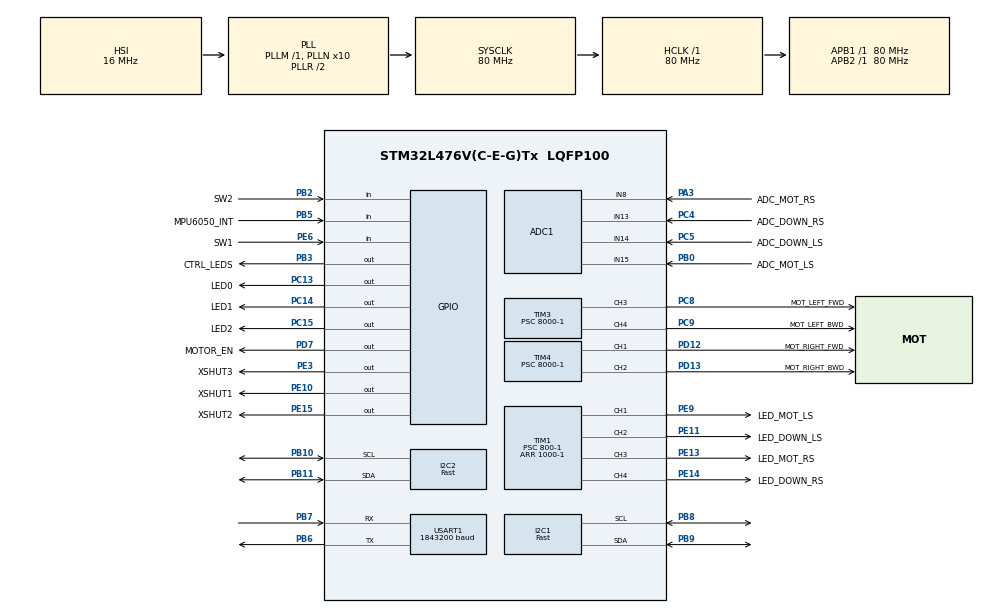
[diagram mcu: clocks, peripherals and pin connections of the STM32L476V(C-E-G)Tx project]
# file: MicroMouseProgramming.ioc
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ADC1.Channel-27\#ChannelRegularConversion=ADC_CHANNEL_VBAT
ADC1.Channel-28\#ChannelRegularConversion=ADC_CHANNEL_8
ADC1.Channel-29\#ChannelRegularConversion=ADC_CHANNEL_13
ADC1.Channel-30\#ChannelRegularConversion=ADC_CHANNEL_14
ADC1.Channel-31\#ChannelRegularConversion=ADC_CHANNEL_15
ADC1.ContinuousConvMode=ENABLE
ADC1.DMAContinuousRequests=ENABLE
ADC1.EOCSelection=ADC_EOC_SEQ_CONV
ADC1.NbrOfConversion=5
ADC1.NbrOfConversionFlag=1
ADC1.OffsetNumber-27\#ChannelRegularConversion=ADC_OFFSET_NONE
ADC1.OffsetNumber-28\#ChannelRegularConversion=ADC_OFFSET_NONE
ADC1.OffsetNumber-29\#ChannelRegularConversion=ADC_OFFSET_NONE
ADC1.OffsetNumber-30\#ChannelRegularConversion=ADC_OFFSET_NONE
ADC1.OffsetNumber-31\#ChannelRegularConversion=ADC_OFFSET_NONE
ADC1.OversamplingMode=ENABLE
ADC1.Rank-27\#ChannelRegularConversion=1
ADC1.Rank-28\#ChannelRegularConversion=2
ADC1.Rank-29\#ChannelRegularConversion=3
ADC1.Rank-30\#ChannelRegularConversion=4
ADC1.Rank-31\#ChannelRegularConversion=5
ADC1.Ratio=ADC_OVERSAMPLING_RATIO_256
ADC1.RightBitShift=ADC_RIGHTBITSHIFT_4
ADC1.SamplingTime-27\#ChannelRegularConversion=ADC_SAMPLETIME_640CYCLES_5
ADC1.SamplingTime-28\#ChannelRegularConversion=ADC_SAMPLETIME_640CYCLES_5
ADC1.SamplingTime-29\#ChannelRegularConversion=ADC_SAMPLETIME_640CYCLES_5
ADC1.SamplingTime-30\#ChannelRegularConversion=ADC_SAMPLETIME_640CYCLES_5
ADC1.SamplingTime-31\#ChannelRegularConversion=ADC_SAMPLETIME_640CYCLES_5
ADC1.master=1
Dma.ADC1.2.Direction=DMA_PERIPH_TO_MEMORY
Dma.ADC1.2.Instance=DMA1_Channel1
Dma.ADC1.2.MemDataAlignment=DMA_MDATAALIGN_HALFWORD
Dma.ADC1.2.MemInc=DMA_MINC_ENABLE
Dma.ADC1.2.Mode=DMA_CIRCULAR
Dma.ADC1.2.PeriphDataAlignment=DMA_PDATAALIGN_HALFWORD
Dma.ADC1.2.PeriphInc=DMA_PINC_DISABLE
Dma.ADC1.2.Priority=DMA_PRIORITY_LOW
Dma.Request0=USART1_RX
Dma.Request1=USART1_TX
Dma.Request2=ADC1
Dma.USART1_RX.0.Direction=DMA_PERIPH_TO_MEMORY
Dma.USART1_RX.0.Instance=DMA2_Channel7
Dma.USART1_RX.0.MemDataAlignment=DMA_MDATAALIGN_BYTE
Dma.USART1_RX.0.MemInc=DMA_MINC_ENABLE
Dma.USART1_RX.0.Mode=DMA_CIRCULAR
Dma.USART1_RX.0.PeriphDataAlignment=DMA_PDATAALIGN_BYTE
Dma.USART1_RX.0.PeriphInc=DMA_PINC_DISABLE
Dma.USART1_RX.0.Priority=DMA_PRIORITY_LOW
Dma.USART1_TX.1.Direction=DMA_MEMORY_TO_PERIPH
Dma.USART1_TX.1.Instance=DMA2_Channel6
Dma.USART1_TX.1.MemDataAlignment=DMA_MDATAALIGN_BYTE
Dma.USART1_TX.1.MemInc=DMA_MINC_ENABLE
Dma.USART1_TX.1.Mode=DMA_NORMAL
Dma.USART1_TX.1.PeriphDataAlignment=DMA_PDATAALIGN_BYTE
Dma.USART1_TX.1.PeriphInc=DMA_PINC_DISABLE
Dma.USART1_TX.1.Priority=DMA_PRIORITY_LOW
I2C1.I2C_Coeff_DF=15
I2C1.I2C_Fall_Time=100
I2C1.I2C_Rise_Time=100
I2C1.I2C_Speed_Mode=I2C_Fast
I2C1.Timing=0x00F01A72
I2C2.I2C_Coeff_DF=15
I2C2.I2C_Speed_Mode=I2C_Fast
I2C2.Timing=0x00F01A72
Mcu.Family=STM32L4
Mcu.Name=STM32L476V(C-E-G)Tx
Mcu.Package=LQFP100
NVIC.ADC1_2_IRQn=true\:0\:0\:false\:true\:true\:4\:true\:true\:true
NVIC.DMA1_Channel1_IRQn=true\:0\:0\:false\:true\:true\:3\:false\:true\:true
NVIC.DMA2_Channel6_IRQn=true\:0\:0\:false\:true\:true\:7\:false\:true\:true
NVIC.DMA2_Channel7_IRQn=true\:0\:0\:false\:true\:true\:8\:false\:true\:true
NVIC.FLASH_IRQn=true\:0\:0\:false\:true\:true\:1\:true\:true\:true
NVIC.PriorityGroup=NVIC_PRIORITYGROUP_4
NVIC.RCC_IRQn=true\:0\:0\:false\:true\:true\:2\:true\:false\:true
NVIC.TIM1_TRG_COM_TIM17_IRQn=true\:0\:0\:false\:false\:true\:true\:true\:true
NVIC.TIM3_IRQn=true\:0\:0\:false\:false\:true\:true\:true\:true
NVIC.TIM4_IRQn=true\:0\:0\:false\:true\:true\:5\:true\:true\:true
NVIC.TIM5_IRQn=true\:0\:0\:false\:true\:true\:6\:true\:true\:true
NVIC.TIM6_DAC_IRQn=true\:15\:0\:false\:false\:true\:true\:true\:true
NVIC.TIM7_IRQn=true\:0\:0\:false\:true\:true\:9\:true\:true\:true
NVIC.TimeBase=TIM6_DAC_IRQn
NVIC.TimeBaseIP=TIM6
NVIC.USART1_IRQn=true\:0\:0\:false\:false\:true\:true\:true\:true
PA13\ (JTMS-SWDIO).Mode=Serial_Wire
PA13\ (JTMS-SWDIO).Signal=SYS_JTMS-SWDIO
PA14\ (JTCK-SWCLK).Mode=Serial_Wire
PA14\ (JTCK-SWCLK).Signal=SYS_JTCK-SWCLK
PA3.GPIO_Label=ADC_MOT_RS
PA3.Signal=ADCx_IN8
PB0.GPIO_Label=ADC_MOT_LS
PB0.Signal=ADCx_IN15
PB10.GPIO_Mode=GPIO_MODE_AF_OD
PB10.GPIO_Pu=GPIO_NOPULL
PB10.GPIO_Speed=GPIO_SPEED_FREQ_VERY_HIGH
PB10.Mode=I2C
PB10.Signal=I2C2_SCL
PB11.GPIO_Mode=GPIO_MODE_AF_OD
PB11.GPIO_Pu=GPIO_NOPULL
PB11.GPIO_Speed=GPIO_SPEED_FREQ_VERY_HIGH
PB11.Mode=I2C
PB11.Signal=I2C2_SDA
PB2.GPIO_Label=SW2
PB2.GPIO_PuPd=GPIO_PULLUP
PB2.Signal=GPIO_Input
PB3\ (JTDO-TRACESWO).GPIO_Label=CTRL_LEDS
PB3\ (JTDO-TRACESWO).Signal=GPIO_Output
PB5.GPIO_Label=MPU6050_INT
PB5.Signal=GPIO_Input
PB6.Mode=Asynchronous
PB6.Signal=USART1_TX
PB7.Mode=Asynchronous
PB7.Signal=USART1_RX
PB8.GPIO_FM8=SYSCFG_FASTMODEPLUS_PB8
PB8.GPIO_Pu=GPIO_PULLUP
PB8.Mode=I2C
PB8.Signal=I2C1_SCL
PB9.GPIO_FM9=SYSCFG_FASTMODEPLUS_PB9
PB9.GPIO_Pu=GPIO_PULLUP
PB9.Mode=I2C
PB9.Signal=I2C1_SDA
PC13.GPIO_Label=LED0
PC13.PinState=GPIO_PIN_SET
PC13.Signal=GPIO_Output
PC14-OSC32_IN\ (PC14).GPIO_Label=LED1
PC14-OSC32_IN\ (PC14).Signal=GPIO_Output
PC15-OSC32_OUT\ (PC15).GPIO_Label=LED2
PC15-OSC32_OUT\ (PC15).Signal=GPIO_Output
PC4.GPIO_Label=ADC_DOWN_RS
PC4.Signal=ADCx_IN13
PC5.GPIO_Label=ADC_DOWN_LS
PC5.GPIO_Mode=GPIO_MODE_ANALOG_ADC_CONTROL
PC5.GPIO_PuPd=GPIO_NOPULL
PC5.Signal=ADCx_IN14
PC8.GPIO_Label=MOT_LEFT_FWD
PC8.GPIO_Speed=GPIO_SPEED_FREQ_LOW
PC8.Signal=S_TIM3_CH3
PC9.GPIO_Label=MOT_LEFT_BWD
PC9.GPIO_Speed=GPIO_SPEED_FREQ_LOW
PC9.Signal=S_TIM3_CH4
PD12.GPIO_Label=MOT_RIGHT_FWD
PD12.Signal=S_TIM4_CH1
PD13.GPIO_Label=MOT_RIGHT_BWD
PD13.Signal=S_TIM4_CH2
PD7.GPIO_Label=MOTOR_EN
PD7.Signal=GPIO_Output
PE10.GPIO_Label=XSHUT1
PE10.GPIO_PuPd=GPIO_PULLUP
PE10.GPIO_Speed=GPIO_SPEED_FREQ_VERY_HIGH
PE10.Signal=GPIO_Output
PE11.GPIO_Label=LED_DOWN_LS
PE11.Signal=S_TIM1_CH2
PE13.GPIO_Label=LED_MOT_RS
PE13.Signal=S_TIM1_CH3
PE14.GPIO_Label=LED_DOWN_RS
PE14.Signal=S_TIM1_CH4
PE15.GPIO_Label=XSHUT2
PE15.GPIO_PuPd=GPIO_PULLUP
PE15.GPIO_Speed=GPIO_SPEED_FREQ_VERY_HIGH
PE15.Signal=GPIO_Output
PE3.GPIO_Label=XSHUT3
PE3.GPIO_PuPd=GPIO_PULLUP
PE3.GPIO_Speed=GPIO_SPEED_FREQ_VERY_HIGH
PE3.Signal=GPIO_Output
PE6.GPIO_Label=SW1
PE6.GPIO_PuPd=GPIO_PULLUP
PE6.Signal=GPIO_Input
PE9.GPIO_Label=LED_MOT_LS
PE9.Signal=S_TIM1_CH1
PH0-OSC_IN\ (PH0).Mode=HSE-External-Oscillator
PH0-OSC_IN\ (PH0).Signal=RCC_OSC_IN
PH1-OSC_OUT\ (PH1).Mode=HSE-External-Oscillator
PH1-OSC_OUT\ (PH1).Signal=RCC_OSC_OUT
ProjectManager.HeapSize=0x1000
ProjectManager.StackSize=0x2000
ProjectManager.TargetToolchain=STM32CubeIDE
RCC.ADCCLockSelection=RCC_ADCCLKSOURCE_SYSCLK
RCC.ADCFreq_Value=80000000
RCC.AHBFreq_Value=80000000
RCC.APB1Freq_Value=80000000
RCC.APB1TimFreq_Value=80000000
RCC.APB2Freq_Value=80000000
RCC.APB2TimFreq_Value=80000000
RCC.CK48CLockSelection=RCC_USBCLKSOURCE_MSI
RCC.CortexFreq_Value=80000000
RCC.DATA_CACHE_ENABLE=1
RCC.FLatency=FLASH_LATENCY_4
RCC.FLatency-AdvancedSettings=FLASH_LATENCY_0
RCC.HCLKFreq_Value=80000000
RCC.HSE_VALUE=8000000
RCC.HSI_VALUE=16000000
RCC.INSTRUCTION_CACHE_ENABLE=1
RCC.LSE_VALUE=32768
RCC.MSIClockRange=RCC_MSIRANGE_11
RCC.MSI_VALUE=48000000
RCC.PLLN=10
RCC.PLLQ=RCC_PLLQ_DIV4
RCC.PLLSAI1N=24
RCC.PLLSAI1Q=RCC_PLLQ_DIV4
RCC.PLLSourceVirtual=RCC_PLLSOURCE_HSI
RCC.PREFETCH_ENABLE=1
RCC.PWR_Regulator_Voltage_Scale=PWR_REGULATOR_VOLTAGE_SCALE1
RCC.SYSCLKFreq_VALUE=80000000
RCC.SYSCLKSource=RCC_SYSCLKSOURCE_PLLCLK
RCC.USBFreq_Value=48000000
RCC.VCOOutputFreq_Value=160000000
RCC.VDD_VALUE=1.71
SH.ADCx_IN13.0=ADC1_IN13,IN13-Single-Ended
SH.ADCx_IN14.0=ADC1_IN14,IN14-Single-Ended
SH.ADCx_IN15.0=ADC1_IN15,IN15-Single-Ended
SH.ADCx_IN8.0=ADC1_IN8,IN8-Single-Ended
SH.S_TIM1_CH1.0=TIM1_CH1,PWM Generation1 CH1
SH.S_TIM1_CH2.0=TIM1_CH2,PWM Generation2 CH2
SH.S_TIM1_CH3.0=TIM1_CH3,PWM Generation3 CH3
SH.S_TIM1_CH4.0=TIM1_CH4,PWM Generation4 CH4
SH.S_TIM3_CH3.0=TIM3_CH3,PWM Generation3 CH3
SH.S_TIM3_CH4.0=TIM3_CH4,PWM Generation4 CH4
SH.S_TIM4_CH1.0=TIM4_CH1,PWM Generation1 CH1
SH.S_TIM4_CH2.0=TIM4_CH2,PWM Generation2 CH2
SYS.PowerMode=PWR_SMPS_SUPPLY
TIM1.Channel-PWM\ Generation1\ CH1=TIM_CHANNEL_1
TIM1.Channel-PWM\ Generation2\ CH2=TIM_CHANNEL_2
TIM1.Channel-PWM\ Generation3\ CH3=TIM_CHANNEL_3
TIM1.Channel-PWM\ Generation4\ CH4=TIM_CHANNEL_4
TIM1.OCPolarity_4=TIM_OCPOLARITY_LOW
TIM1.Period=1000-1
TIM1.Prescaler=800-1
TIM1.Pulse-PWM\ Generation1\ CH1=1000-1
TIM1.Pulse-PWM\ Generation2\ CH2=1000-1
TIM1.Pulse-PWM\ Generation3\ CH3=1000-1
TIM1.Pulse-PWM\ Generation4\ CH4=500-1
TIM3.AutoReloadPreload=TIM_AUTORELOAD_PRELOAD_ENABLE
TIM3.Channel-PWM\ Generation3\ CH3=TIM_CHANNEL_3
TIM3.Channel-PWM\ Generation4\ CH4=TIM_CHANNEL_4
TIM3.OCPolarity_3=TIM_OCPOLARITY_LOW
TIM3.OCPolarity_4=TIM_OCPOLARITY_LOW
TIM3.Period=100-1
TIM3.Prescaler=8000-1
TIM3.Pulse-PWM\ Generation3\ CH3=0
TIM3.Pulse-PWM\ Generation4\ CH4=0
TIM4.AutoReloadPreload=TIM_AUTORELOAD_PRELOAD_ENABLE
TIM4.Channel-PWM\ Generation1\ CH1=TIM_CHANNEL_1
TIM4.Channel-PWM\ Generation2\ CH2=TIM_CHANNEL_2
TIM4.OCPolarity_1=TIM_OCPOLARITY_LOW
TIM4.OCPolarity_2=TIM_OCPOLARITY_LOW
TIM4.Period=100-1
TIM4.Prescaler=8000-1
TIM5.AutoReloadPreload=TIM_AUTORELOAD_PRELOAD_ENABLE
TIM5.Period=1
TIM5.Prescaler=1
TIM7.AutoReloadPreload=TIM_AUTORELOAD_PRELOAD_ENABLE
TIM7.Prescaler=1
USART1.BaudRate=1843200
USART1.VirtualMode-Asynchronous=VM_ASYNC
VP_ADC1_Vbat_Input.Mode=IN-Vbat
VP_SYS_VS_LPOM.Mode=PowerOptimisation
VP_SYS_VS_tim6.Mode=TIM6
VP_TIM1_VS_ClockSourceINT.Mode=Internal
VP_TIM3_VS_ClockSourceINT.Mode=Internal
VP_TIM4_VS_ClockSourceINT.Mode=Internal
VP_TIM5_VS_ClockSourceINT.Mode=Internal
VP_TIM7_VS_ClockSourceINT.Mode=Enable_Timer
board=custom

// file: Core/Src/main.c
/* USER CODE BEGIN Header */
/**
  ******************************************************************************
  * @file           : main.c
  * @brief          : Main program body
  ******************************************************************************
  * @attention
  *
  * Copyright (c) 2023 STMicroelectronics.
  * All rights reserved.
  *
  * This software is licensed under terms that can be found in the LICENSE file
  * in the root directory of this software component.
  * If no LICENSE file comes with this software, it is provided AS-IS.
  *
  ******************************************************************************
  */
/* USER CODE END Header */
#include "main.h"

/* USER CODE BEGIN Includes */
#include <math.h>
#include <string.h>
#include <stdio.h>
#include <stdbool.h>
#include <stdint.h>
#include "IMU.h"
#include "VL53L0X.h"
#include "SSD1306.h"
#include "Motors.h"
#include "ADCs.h"
#include "LEDs.h"
#include "Buttons.h"
#include "INA219.h"
#include "preformatted_flash.h"
/* USER CODE END Includes */

ADC_HandleTypeDef hadc1;
DMA_HandleTypeDef hdma_adc1;

I2C_HandleTypeDef hi2c1;
I2C_HandleTypeDef hi2c2;

TIM_HandleTypeDef htim1;
TIM_HandleTypeDef htim3;
TIM_HandleTypeDef htim4;
TIM_HandleTypeDef htim5;
TIM_HandleTypeDef htim7;

UART_HandleTypeDef huart1;
DMA_HandleTypeDef hdma_usart1_rx;
DMA_HandleTypeDef hdma_usart1_tx;

void SystemClock_Config(void);
static void MX_NVIC_Init(void);

/* USER CODE BEGIN 0 */
int8_t expectedHeader[3] = {'J', '_', 'A'};
int8_t expectedTerminator[3] = {'A', '_', 'J'};

int32_t counter = 0;

// from this file
float SW1;
float SW2;

int8_t bigBuffer[3+5+(18*5)+1+3]; // 5 bytes for mouse control + headers and terminators
uint8_t header[3];
uint8_t terminator[3];
int8_t buffer[5];

bool LED0 = 0;
bool LED1 = 0;
bool LED2 = 0;

// ADCs
extern uint16_t ADCs[5];

extern int8_t MOTOR_LS;
extern int8_t MOTOR_RS;

// from other files
extern float IMU_Accel[3];
extern float IMU_Gyro[3];
extern float IMU_Temp;

extern VL53L0_t TOF_left_result;
extern VL53L0_t TOF_centre_result;
extern VL53L0_t TOF_right_result;

extern char oled_string1[18];
extern char oled_string2[18];
extern char oled_string3[18];
extern char oled_string4[18];
extern char oled_string5[18];

extern uint8_t LED[3];
extern uint8_t SW[2];

extern uint8_t batteryLife;
extern int16_t Vbattery, Vshunt, Current, config, Power;
extern float miliwattAVG,miliWattTime,totalPowerUsed;
extern uint8_t STATE;
// functions

void configureTimer(float desired_frequency, TIM_TypeDef* tim) {
    // Assuming the clock frequency driving the timer is 80 MHz
    float clock_frequency = SystemCoreClock; // 80 MHz

    // Calculate the required total timer period in timer clock cycles
    float timer_period = clock_frequency / desired_frequency;

    // Choose a suitable prescaler (PSC) to fit the period within ARR's range
    uint32_t prescaler = (uint32_t)(timer_period / 65536.0f); // PSC ensures ARR <= 65535
    if (prescaler > 65535) {
        prescaler = 65535; // Cap PSC if it exceeds 16-bit value
    }

    // Calculate the ARR based on the chosen PSC
    uint64_t arr = (uint64_t)(timer_period / (prescaler + 1));

    // Update the timer registers
    tim->PSC = prescaler;   // Set the prescaler
    tim->ARR = arr;         // Set the auto-reload register

    // Reload the timer settings to apply the changes immediately
    tim->EGR = TIM_EGR_UG;  // Generate an update event to reload PSC and ARR
}

void sendToSimulink(){
    HAL_UART_Transmit(&huart1, (uint8_t *) "J_A"           ,3 , HAL_MAX_DELAY);

    // Switches
    HAL_UART_Transmit(&huart1,(float_t*)  &SW1     ,4 , HAL_MAX_DELAY);
    HAL_UART_Transmit(&huart1,(float_t *) &SW2     ,4 , HAL_MAX_DELAY);

  // IMU
    HAL_UART_Transmit(&huart1, &IMU_Accel[0]     ,4 , HAL_MAX_DELAY);
    HAL_UART_Transmit(&huart1, &IMU_Accel[1]     ,4 , HAL_MAX_DELAY);
    HAL_UART_Transmit(&huart1, &IMU_Accel[2]     ,4 , HAL_MAX_DELAY);
    HAL_UART_Transmit(&huart1, &IMU_Gyro[0]     ,4 , HAL_MAX_DELAY);
    HAL_UART_Transmit(&huart1, &IMU_Gyro[1]     ,4 , HAL_MAX_DELAY);
    HAL_UART_Transmit(&huart1, &IMU_Gyro[2]     ,4 , HAL_MAX_DELAY);
    HAL_UART_Transmit(&huart1, &IMU_Temp         ,4 , HAL_MAX_DELAY);

  // TOF
    HAL_UART_Transmit(&huart1, &(TOF_left_result.Distance)  , 4 , HAL_MAX_DELAY);
    HAL_UART_Transmit(&huart1, &(TOF_left_result.Ambient )  , 4 , HAL_MAX_DELAY);
    HAL_UART_Transmit(&huart1, &(TOF_left_result.Signal  )  , 4 , HAL_MAX_DELAY);
    HAL_UART_Transmit(&huart1, &(TOF_left_result.Status  )  , 4 , HAL_MAX_DELAY);
    HAL_UART_Transmit(&huart1,  &(TOF_centre_result.Distance)  , 4 , HAL_MAX_DELAY);
    HAL_UART_Transmit(&huart1,  &(TOF_centre_result.Ambient )  , 4 , HAL_MAX_DELAY);
    HAL_UART_Transmit(&huart1,  &(TOF_centre_result.Signal  )  , 4 , HAL_MAX_DELAY);
    HAL_UART_Transmit(&huart1,  &(TOF_centre_result.Status  )  , 4 , HAL_MAX_DELAY);
    HAL_UART_Transmit(&huart1,  &(TOF_right_result.Distance)  , 4 , HAL_MAX_DELAY);
    HAL_UART_Transmit(&huart1,  &(TOF_right_result.Ambient )  , 4 , HAL_MAX_DELAY);
    HAL_UART_Transmit(&huart1,  &(TOF_right_result.Signal  )  , 4 , HAL_MAX_DELAY);
    HAL_UART_Transmit(&huart1,  &(TOF_right_result.Status  )  , 4 , HAL_MAX_DELAY);

    // VBAT, MOT_RS , DOWN_RS , DOWN_LS , MOT_LS
    HAL_UART_Transmit(&huart1,  &(ADCs[0]  )  , 2 , HAL_MAX_DELAY);
    HAL_UART_Transmit(&huart1,  &(ADCs[0]  )  , 2 , HAL_MAX_DELAY);

    HAL_UART_Transmit(&huart1,  &(ADCs[1]  )  , 2 , HAL_MAX_DELAY);
    HAL_UART_Transmit(&huart1,  &(ADCs[1]  )  , 2 , HAL_MAX_DELAY);

    HAL_UART_Transmit(&huart1,  &(ADCs[2]  )  , 2 , HAL_MAX_DELAY);
    HAL_UART_Transmit(&huart1,  &(ADCs[2]  )  , 2 , HAL_MAX_DELAY);

    HAL_UART_Transmit(&huart1,  &(ADCs[3]  )  , 2 , HAL_MAX_DELAY);
    HAL_UART_Transmit(&huart1,  &(ADCs[3]  )  , 2 , HAL_MAX_DELAY);

    HAL_UART_Transmit(&huart1,  &(ADCs[4]  )  , 2 , HAL_MAX_DELAY);
    HAL_UART_Transmit(&huart1,  &(ADCs[4]  )  , 2 , HAL_MAX_DELAY);

    // INA219
    HAL_UART_Transmit(&huart1, (uint8_t *) &Vbattery     ,2 , HAL_MAX_DELAY);
    HAL_UART_Transmit(&huart1, (uint8_t *) &Vshunt       ,2 , HAL_MAX_DELAY);
    HAL_UART_Transmit(&huart1, (uint8_t *) &Current      ,2 , HAL_MAX_DELAY);
    HAL_UART_Transmit(&huart1, (uint8_t *) &Power        ,2 , HAL_MAX_DELAY);
    HAL_UART_Transmit(&huart1, (uint8_t *) &batteryLife  ,1 , HAL_MAX_DELAY);
    HAL_UART_Transmit(&huart1, (uint8_t *) &batteryLife  ,1 , HAL_MAX_DELAY);
    HAL_UART_Transmit(&huart1, (uint8_t *) &batteryLife  ,1 , HAL_MAX_DELAY);
    HAL_UART_Transmit(&huart1, (uint8_t *) &batteryLife  ,1 , HAL_MAX_DELAY);

    HAL_UART_Transmit(&huart1, (uint32_t *) &counter         ,4 , HAL_MAX_DELAY);
    // HAL_UART_Transmit(&huart1, (uint8_t *) "A_J"      ,3 , HAL_MAX_DELAY);
}

void recievedFromSimulink(){
    memcpy(header, bigBuffer, 3);          // Copy first 3 bytes into header
    memcpy(terminator, bigBuffer + (sizeof(bigBuffer) - 3), 3);  // Copy last 3 bytes into terminator

    if (header[0] == expectedHeader[0] & header[1] == expectedHeader[1] & header[2] == expectedHeader[2] ) {
        if (terminator[0] == expectedTerminator[0] & terminator[1] == expectedTerminator[1] && terminator[2] == expectedTerminator[2]){
          LED[0] = bigBuffer[3];
          LED[1] = bigBuffer[4];
          LED[2] = bigBuffer[5];

          MOTOR_LS = bigBuffer[6];
          MOTOR_RS = bigBuffer[7];

          for (int i = 0; i < 18; i++) {
            oled_string1[i] = bigBuffer[8 + i];
            oled_string2[i] = bigBuffer[26 + i];
            oled_string3[i] = bigBuffer[44 + i];
            oled_string4[i] = bigBuffer[62 + i];
            oled_string5[i] = bigBuffer[80 + i];
          }

          STATE = bigBuffer[98];

        }
    }

}

uint8_t I2C_Scan(I2C_HandleTypeDef *hi2c, uint8_t *foundAddresses, uint8_t maxAddresses) {
    uint8_t found = 0;
    for (uint8_t addr = 1; addr < 128; addr++) {
        if (HAL_I2C_IsDeviceReady(hi2c, addr << 1, 1, 10) == HAL_OK) {
            if (found < maxAddresses) {
                foundAddresses[found++] = addr;
            }
        }
    }
    return found;
}

void restartI2C(){
  #ifdef I2C_SAFE_RESTART
    TIM3->CCR4 = 0;
    TIM3->CCR3 = 0;
    TIM4->CCR2 = 0;
    TIM4->CCR1 = 0;
  #endif
  HAL_I2C_DeInit(&hi2c1);
  HAL_I2C_Init(&hi2c1);
  HAL_I2C_DeInit(&hi2c2);
  HAL_I2C_Init(&hi2c2);
  // Attempt to clear I2C bus error (BERR)}
}
// Logging

extern uint8_t USB_storage_buffer[2][USB_BUFFER_SIZE];
extern uint16_t usb_storage_buffer_index[2];
extern uint8_t active_usb_buffer;
extern uint8_t readyToLog;
extern uint32_t log_flash_write_addr;
uint8_t log_time_counter = 0;

typedef struct __attribute__((packed)) {
    uint8_t state;
    uint8_t LEDs[3];
    int8_t Motor_Left;
    int8_t Motor_Right;
    uint16_t Distance_Left;
    uint16_t Distance_Centre;
    uint16_t Distance_Right;
    uint16_t IMU_Accel_X;
    uint16_t IMU_Accel_Y;
    uint16_t IMU_Accel_Z;
    uint16_t IMU_Gyro_X;
    uint16_t IMU_Gyro_Y;
    uint16_t IMU_Gyro_Z;
} MicroMouseLog_t;

void initLogs() {
    // Configure TIM7 for 30Hz
    configureTimer(25, TIM7);
    HAL_TIM_Base_Start_IT(&htim7);
    readyToLog = false;
    #ifndef COMPILED_BY_SIMULINK
    HAL_DBGMCU_EnableDBGSleepMode();
    HAL_DBGMCU_EnableDBGStandbyMode();
    HAL_DBGMCU_EnableDBGStopMode();
    #endif
}

bool first_buffer = true;
bool logging_enabled = false;
void refreshLoggedData() {
      #ifdef COMPILED_BY_SIMULINK
      log_time_counter++;
      if (log_time_counter >= 100/25) { // 1ms/Hz
        readyToLog = true;
        log_time_counter = 0;
      }
      #endif

    if (!readyToLog) return;
    readyToLog = false;
    // Enable logging if any button is pressed (active low)
    if (!logging_enabled && (SW[0] != SW[1])) {
        logging_enabled = true;
        HAL_GPIO_WritePin(MOTOR_EN_GPIO_Port , MOTOR_EN_Pin , GPIO_PIN_SET);
    }
    if (!logging_enabled) return;

    if (first_buffer) {
        // Place UID only at the start of the very first buffer
        uint8_t *uid_ptr = (uint8_t*)0x1FFF7590;
        memcpy(USB_storage_buffer[active_usb_buffer], uid_ptr, 12);
        usb_storage_buffer_index[active_usb_buffer] = 12;
        first_buffer = false;

        FLASH_EraseInitTypeDef EraseInitStruct;

        uint32_t PAGEError;
        HAL_FLASH_Unlock();
        EraseInitStruct.TypeErase = FLASH_TYPEERASE_MASSERASE;
        EraseInitStruct.Banks = FLASH_BANK_2;
        if (HAL_FLASHEx_Erase(&EraseInitStruct, &PAGEError) != HAL_OK){
          return HAL_FLASH_GetError();
        }
        HAL_FLASH_Lock();
    }

    MicroMouseLog_t log;
    log.state = STATE;
    log.LEDs[0] = LED[0];
    log.LEDs[1] = LED[1];
    log.LEDs[2] = LED[2];
    log.Distance_Left = (uint16_t)(TOF_left_result.Distance > 4095 ? 4095 : TOF_left_result.Distance);
    log.Distance_Centre = (uint16_t)(TOF_centre_result.Distance > 4095 ? 4095 : TOF_centre_result.Distance);
    log.Distance_Right = (uint16_t)(TOF_right_result.Distance > 4095 ? 4095 : TOF_right_result.Distance);
    log.Motor_Left = MOTOR_LS;
    log.Motor_Right = MOTOR_RS;
    // Add IMU accel x, accel y, and gyro z
    log.IMU_Accel_X = (uint16_t)(IMU_Accel[0] * 1000.0f);
    log.IMU_Accel_Y = (uint16_t)(IMU_Accel[1] * 1000.0f);
    log.IMU_Accel_Z = (uint16_t)(IMU_Accel[2] * 1000.0f);
    log.IMU_Gyro_X = (uint16_t)(IMU_Gyro[0] * 1000.0f);
    log.IMU_Gyro_Y = (uint16_t)(IMU_Gyro[1] * 1000.0f);
    log.IMU_Gyro_Z = (uint16_t)(IMU_Gyro[2] * 1000.0f);
    // Check if flash at 0x807FFFF is not 0xFF, stop logging and indicate full
    if (*((uint8_t*)0x807FFFF) != 0xFF) {
        logging_enabled = false;
        LED[0] = 1;
        LED[1] = 1;
        LED[2] = 1;
        MOTOR_LS = 0;
        MOTOR_RS = 0;
        snprintf(oled_string2, sizeof(oled_string2), "MicroMouseLog Full");
        refreshScreen();
        return;
    }
    // Calculate CRC as bitwise AND of UID, motors, and state
    // Use last 3 bytes of UID and bitwise AND with Motor_Left, Motor_Right, and state, each shifted to fill 24 bits
    uint8_t *uid_ptr = (uint8_t*)0x1FFF7590;
    uint32_t uid24 = (uid_ptr[9] << 16) | (uid_ptr[10] << 8) | uid_ptr[11];
    uint32_t log24 = ((uint8_t)log.Motor_Left << 16) | ((uint8_t)log.Motor_Right << 8) | ((uint8_t)log.state);
    // log.crc = uid24 & log24;
    memcpy(&USB_storage_buffer[active_usb_buffer][usb_storage_buffer_index[active_usb_buffer]], &log, sizeof(MicroMouseLog_t));
    usb_storage_buffer_index[active_usb_buffer] += sizeof(log);

    if (usb_storage_buffer_index[active_usb_buffer] + sizeof(log) > USB_BUFFER_SIZE) {
        // Offload current buffer to flash
        Flash_Write_Data(log_flash_write_addr, USB_storage_buffer[active_usb_buffer], USB_BUFFER_SIZE);
        log_flash_write_addr += LOG_FLASH_PAGE_SIZE;
        // Switch buffer
        active_usb_buffer ^= 1;
        usb_storage_buffer_index[active_usb_buffer] = 0;
        first_buffer = false;
    }
    readyToLog = false;
}

#ifndef COMPILED_BY_SIMULINK

void initMicroMouse(){
  TIM3->CCR4 = 0;
  TIM3->CCR3 = 0;
  TIM4->CCR2 = 0;
  TIM4->CCR1 = 0;

  initTOFs(1);

  // Scan both I2C buses for devices
  uint8_t found1[1];
  uint8_t found2[5];
  uint8_t num1 = I2C_Scan(&hi2c1, found1, 1);
  uint8_t num2 = I2C_Scan(&hi2c2, found2, 5);

  initScreen();
  initINA219();
  initIMU();
  initADCs();
  initMotors();
  initLEDs();
  initSW();
  initLogs();
}

bool simulink_talking = false;

void updateMicroMouse(){
  // Motor Control
  // TIM4->CCR1 = 0;
  // TIM4->CCR2 = 0;
  // TIM3->CCR3 = 0;
  // TIM3->CCR4 = 0;

  // update screen
  refreshADCs();
  refreshScreen();

  // Show sensor data on screen as integers, each digit explicit
  int left_mm = (int)(TOF_left_result.Distance);
  int centre_mm = (int)(TOF_centre_result.Distance);
  int right_mm = (int)(TOF_right_result.Distance);
  int accel_x = (int)(IMU_Accel[0] * 1000); // scale to show 2 decimals as int
  int accel_y = (int)(IMU_Accel[1] * 1000);
  int accel_z = (int)(IMU_Accel[2] * 1000);
  int gyro_x = (int)(IMU_Gyro[0] * 1000);
  int gyro_y = (int)(IMU_Gyro[1] * 1000);
  int gyro_z = (int)(IMU_Gyro[2] * 1000);
  int vbatt_mv = (int)Vbattery;
  int current_ma = (int)Current;
  int batt_pct = (int)batteryLife;

  refreshLEDs();
  refreshSWValues();
  refreshTOFValues();
  refreshIMUValues();
  refreshINA219Values();
  refreshMotors();
  refreshLoggedData();
}

void HAL_UART_RxCpltCallback(UART_HandleTypeDef *huart){
  if(huart->Instance == USART1){
    simulink_talking = true;
    recievedFromSimulink();
  }
}

void main(void)
{
  // Initialize the HAL Library; it must be the first function to be executed
  HAL_Init();

  // Configure the system clock
  SystemClock_Config();

  // Initialize all configured peripherals
  MX_DMA_Init();
  MX_GPIO_Init();
  MX_ADC1_Init();
  MX_I2C1_Init();
  MX_I2C2_Init();
  MX_TIM1_Init();
  MX_TIM3_Init();
  MX_TIM4_Init();
  MX_TIM5_Init();
  MX_TIM7_Init();
  MX_USART1_UART_Init();
  MX_NVIC_Init();

  initMicroMouse();

  // Configure timers for desired frequencies
  configureTimer(100, TIM5); // Example: configure TIM1 for a frequency of 1000 Hz

  HAL_TIM_Base_Start_IT(&htim5);

  HAL_UART_Receive_DMA(&huart1,(uint8_t *) &bigBuffer, sizeof(bigBuffer));

  HAL_Delay(5000);

  while (1)
  {

    // Process any pending flash writes from USB storage
    #ifdef USE_FLASH

    #endif

    // Main loop code here
    updateMicroMouse();
    // sendToSimulink();
    // HAL_Delay(100);
    // counter++;
  }
}
#endif /* COMPILED_BY_SIMULINK */
/* USER CODE END 0 */

void SystemClock_Config(void)
{
  RCC_OscInitTypeDef RCC_OscInitStruct = {0};
  RCC_ClkInitTypeDef RCC_ClkInitStruct = {0};

  /** Configure the main internal regulator output voltage
  */
  if (HAL_PWREx_ControlVoltageScaling(PWR_REGULATOR_VOLTAGE_SCALE1) != HAL_OK)
  {
    Error_Handler();
  }

  /** Initializes the RCC Oscillators according to the specified parameters
  * in the RCC_OscInitTypeDef structure.
  */
  RCC_OscInitStruct.OscillatorType = RCC_OSCILLATORTYPE_HSI;
  RCC_OscInitStruct.HSIState = RCC_HSI_ON;
  RCC_OscInitStruct.HSICalibrationValue = RCC_HSICALIBRATION_DEFAULT;
  RCC_OscInitStruct.PLL.PLLState = RCC_PLL_ON;
  RCC_OscInitStruct.PLL.PLLSource = RCC_PLLSOURCE_HSI;
  RCC_OscInitStruct.PLL.PLLM = 1;
  RCC_OscInitStruct.PLL.PLLN = 10;
  RCC_OscInitStruct.PLL.PLLP = RCC_PLLP_DIV7;
  RCC_OscInitStruct.PLL.PLLQ = RCC_PLLQ_DIV4;
  RCC_OscInitStruct.PLL.PLLR = RCC_PLLR_DIV2;
  if (HAL_RCC_OscConfig(&RCC_OscInitStruct) != HAL_OK)
  {
    Error_Handler();
  }

  /** Initializes the CPU, AHB and APB buses clocks
  */
  RCC_ClkInitStruct.ClockType = RCC_CLOCKTYPE_HCLK|RCC_CLOCKTYPE_SYSCLK
                              |RCC_CLOCKTYPE_PCLK1|RCC_CLOCKTYPE_PCLK2;
  RCC_ClkInitStruct.SYSCLKSource = RCC_SYSCLKSOURCE_PLLCLK;
  RCC_ClkInitStruct.AHBCLKDivider = RCC_SYSCLK_DIV1;
  RCC_ClkInitStruct.APB1CLKDivider = RCC_HCLK_DIV1;
  RCC_ClkInitStruct.APB2CLKDivider = RCC_HCLK_DIV1;

  if (HAL_RCC_ClockConfig(&RCC_ClkInitStruct, FLASH_LATENCY_4) != HAL_OK)
  {
    Error_Handler();
  }
}

/**
  * @brief NVIC Configuration.
  * @retval None
  */
static void MX_NVIC_Init(void)
{
  /* FLASH_IRQn interrupt configuration */
  HAL_NVIC_SetPriority(FLASH_IRQn, 0, 0);
  HAL_NVIC_EnableIRQ(FLASH_IRQn);
  /* RCC_IRQn interrupt configuration */
  HAL_NVIC_SetPriority(RCC_IRQn, 0, 0);
  HAL_NVIC_EnableIRQ(RCC_IRQn);
  /* DMA1_Channel1_IRQn interrupt configuration */
  HAL_NVIC_SetPriority(DMA1_Channel1_IRQn, 0, 0);
  HAL_NVIC_EnableIRQ(DMA1_Channel1_IRQn);
  /* ADC1_2_IRQn interrupt configuration */
  HAL_NVIC_SetPriority(ADC1_2_IRQn, 0, 0);
  HAL_NVIC_EnableIRQ(ADC1_2_IRQn);
  /* TIM4_IRQn interrupt configuration */
  HAL_NVIC_SetPriority(TIM4_IRQn, 0, 0);
  HAL_NVIC_EnableIRQ(TIM4_IRQn);
  /* TIM5_IRQn interrupt configuration */
  HAL_NVIC_SetPriority(TIM5_IRQn, 0, 0);
  HAL_NVIC_EnableIRQ(TIM5_IRQn);
  /* DMA2_Channel6_IRQn interrupt configuration */
  HAL_NVIC_SetPriority(DMA2_Channel6_IRQn, 0, 0);
  HAL_NVIC_EnableIRQ(DMA2_Channel6_IRQn);
  /* DMA2_Channel7_IRQn interrupt configuration */
  HAL_NVIC_SetPriority(DMA2_Channel7_IRQn, 0, 0);
  HAL_NVIC_EnableIRQ(DMA2_Channel7_IRQn);
  /* TIM7_IRQn interrupt configuration */
  HAL_NVIC_SetPriority(TIM7_IRQn, 0, 0);
  HAL_NVIC_EnableIRQ(TIM7_IRQn);
}

void MX_ADC1_Init(void)
{

  ADC_MultiModeTypeDef multimode = {0};
  ADC_ChannelConfTypeDef sConfig = {0};

  /** Common config
  */
  hadc1.Instance = ADC1;
  hadc1.Init.ClockPrescaler = ADC_CLOCK_ASYNC_DIV1;
  hadc1.Init.Resolution = ADC_RESOLUTION_12B;
  hadc1.Init.DataAlign = ADC_DATAALIGN_RIGHT;
  hadc1.Init.ScanConvMode = ADC_SCAN_ENABLE;
  hadc1.Init.EOCSelection = ADC_EOC_SEQ_CONV;
  hadc1.Init.LowPowerAutoWait = DISABLE;
  hadc1.Init.ContinuousConvMode = ENABLE;
  hadc1.Init.NbrOfConversion = 5;
  hadc1.Init.DiscontinuousConvMode = DISABLE;
  hadc1.Init.ExternalTrigConv = ADC_SOFTWARE_START;
  hadc1.Init.ExternalTrigConvEdge = ADC_EXTERNALTRIGCONVEDGE_NONE;
  hadc1.Init.DMAContinuousRequests = ENABLE;
  hadc1.Init.Overrun = ADC_OVR_DATA_PRESERVED;
  hadc1.Init.OversamplingMode = ENABLE;
  hadc1.Init.Oversampling.Ratio = ADC_OVERSAMPLING_RATIO_256;
  hadc1.Init.Oversampling.RightBitShift = ADC_RIGHTBITSHIFT_4;
  hadc1.Init.Oversampling.TriggeredMode = ADC_TRIGGEREDMODE_SINGLE_TRIGGER;
  hadc1.Init.Oversampling.OversamplingStopReset = ADC_REGOVERSAMPLING_CONTINUED_MODE;
  if (HAL_ADC_Init(&hadc1) != HAL_OK)
  {
    Error_Handler();
  }

  /** Configure the ADC multi-mode
  */
  multimode.Mode = ADC_MODE_INDEPENDENT;
  if (HAL_ADCEx_MultiModeConfigChannel(&hadc1, &multimode) != HAL_OK)
  {
    Error_Handler();
  }

  /** Configure Regular Channel
  */
  sConfig.Channel = ADC_CHANNEL_VBAT;
  sConfig.Rank = ADC_REGULAR_RANK_1;
  sConfig.SamplingTime = ADC_SAMPLETIME_640CYCLES_5;
  sConfig.SingleDiff = ADC_SINGLE_ENDED;
  sConfig.OffsetNumber = ADC_OFFSET_NONE;
  sConfig.Offset = 0;
  if (HAL_ADC_ConfigChannel(&hadc1, &sConfig) != HAL_OK)
  {
    Error_Handler();
  }

  /** Configure Regular Channel
  */
  sConfig.Channel = ADC_CHANNEL_8;
  sConfig.Rank = ADC_REGULAR_RANK_2;
  if (HAL_ADC_ConfigChannel(&hadc1, &sConfig) != HAL_OK)
  {
    Error_Handler();
  }

  /** Configure Regular Channel
  */
  sConfig.Channel = ADC_CHANNEL_13;
  sConfig.Rank = ADC_REGULAR_RANK_3;
  if (HAL_ADC_ConfigChannel(&hadc1, &sConfig) != HAL_OK)
  {
    Error_Handler();
  }

  /** Configure Regular Channel
  */
  sConfig.Channel = ADC_CHANNEL_14;
  sConfig.Rank = ADC_REGULAR_RANK_4;
  if (HAL_ADC_ConfigChannel(&hadc1, &sConfig) != HAL_OK)
  {
    Error_Handler();
  }

  /** Configure Regular Channel
  */
  sConfig.Channel = ADC_CHANNEL_15;
  sConfig.Rank = ADC_REGULAR_RANK_5;
  if (HAL_ADC_ConfigChannel(&hadc1, &sConfig) != HAL_OK)
  {
    Error_Handler();
  }

}

void MX_I2C1_Init(void)
{

  hi2c1.Instance = I2C1;
  hi2c1.Init.Timing = 0x00F01A72;
  hi2c1.Init.OwnAddress1 = 0;
  hi2c1.Init.AddressingMode = I2C_ADDRESSINGMODE_7BIT;
  hi2c1.Init.DualAddressMode = I2C_DUALADDRESS_DISABLE;
  hi2c1.Init.OwnAddress2 = 0;
  hi2c1.Init.OwnAddress2Masks = I2C_OA2_NOMASK;
  hi2c1.Init.GeneralCallMode = I2C_GENERALCALL_DISABLE;
  hi2c1.Init.NoStretchMode = I2C_NOSTRETCH_DISABLE;
  if (HAL_I2C_Init(&hi2c1) != HAL_OK)
  {
    Error_Handler();
  }

  /** Configure Analogue filter
  */
  if (HAL_I2CEx_ConfigAnalogFilter(&hi2c1, I2C_ANALOGFILTER_ENABLE) != HAL_OK)
  {
    Error_Handler();
  }

  /** Configure Digital filter
  */
  if (HAL_I2CEx_ConfigDigitalFilter(&hi2c1, 15) != HAL_OK)
  {
    Error_Handler();
  }

}

void MX_I2C2_Init(void)
{

  hi2c2.Instance = I2C2;
  hi2c2.Init.Timing = 0x00F01A72;
  hi2c2.Init.OwnAddress1 = 0;
  hi2c2.Init.AddressingMode = I2C_ADDRESSINGMODE_7BIT;
  hi2c2.Init.DualAddressMode = I2C_DUALADDRESS_DISABLE;
  hi2c2.Init.OwnAddress2 = 0;
  hi2c2.Init.OwnAddress2Masks = I2C_OA2_NOMASK;
  hi2c2.Init.GeneralCallMode = I2C_GENERALCALL_DISABLE;
  hi2c2.Init.NoStretchMode = I2C_NOSTRETCH_DISABLE;
  if (HAL_I2C_Init(&hi2c2) != HAL_OK)
  {
    Error_Handler();
  }

  /** Configure Analogue filter
  */
  if (HAL_I2CEx_ConfigAnalogFilter(&hi2c2, I2C_ANALOGFILTER_ENABLE) != HAL_OK)
  {
    Error_Handler();
  }

  /** Configure Digital filter
  */
  if (HAL_I2CEx_ConfigDigitalFilter(&hi2c2, 15) != HAL_OK)
  {
    Error_Handler();
  }

}

void MX_TIM1_Init(void)
{

  TIM_ClockConfigTypeDef sClockSourceConfig = {0};
  TIM_MasterConfigTypeDef sMasterConfig = {0};
  TIM_OC_InitTypeDef sConfigOC = {0};
  TIM_BreakDeadTimeConfigTypeDef sBreakDeadTimeConfig = {0};

  htim1.Instance = TIM1;
  htim1.Init.Prescaler = 800-1;
  htim1.Init.CounterMode = TIM_COUNTERMODE_UP;
  htim1.Init.Period = 1000-1;
  htim1.Init.ClockDivision = TIM_CLOCKDIVISION_DIV1;
  htim1.Init.RepetitionCounter = 0;
  htim1.Init.AutoReloadPreload = TIM_AUTORELOAD_PRELOAD_DISABLE;
  if (HAL_TIM_Base_Init(&htim1) != HAL_OK)
  {
    Error_Handler();
  }
  sClockSourceConfig.ClockSource = TIM_CLOCKSOURCE_INTERNAL;
  if (HAL_TIM_ConfigClockSource(&htim1, &sClockSourceConfig) != HAL_OK)
  {
    Error_Handler();
  }
  if (HAL_TIM_PWM_Init(&htim1) != HAL_OK)
  {
    Error_Handler();
  }
  sMasterConfig.MasterOutputTrigger = TIM_TRGO_RESET;
  sMasterConfig.MasterOutputTrigger2 = TIM_TRGO2_RESET;
  sMasterConfig.MasterSlaveMode = TIM_MASTERSLAVEMODE_DISABLE;
  if (HAL_TIMEx_MasterConfigSynchronization(&htim1, &sMasterConfig) != HAL_OK)
  {
    Error_Handler();
  }
  sConfigOC.OCMode = TIM_OCMODE_PWM1;
  sConfigOC.Pulse = 1000-1;
  sConfigOC.OCPolarity = TIM_OCPOLARITY_HIGH;
  sConfigOC.OCNPolarity = TIM_OCNPOLARITY_HIGH;
  sConfigOC.OCFastMode = TIM_OCFAST_DISABLE;
  sConfigOC.OCIdleState = TIM_OCIDLESTATE_RESET;
  sConfigOC.OCNIdleState = TIM_OCNIDLESTATE_RESET;
  if (HAL_TIM_PWM_ConfigChannel(&htim1, &sConfigOC, TIM_CHANNEL_1) != HAL_OK)
  {
    Error_Handler();
  }
  if (HAL_TIM_PWM_ConfigChannel(&htim1, &sConfigOC, TIM_CHANNEL_2) != HAL_OK)
  {
    Error_Handler();
  }
  if (HAL_TIM_PWM_ConfigChannel(&htim1, &sConfigOC, TIM_CHANNEL_3) != HAL_OK)
  {
    Error_Handler();
  }
  sConfigOC.Pulse = 500-1;
  sConfigOC.OCPolarity = TIM_OCPOLARITY_LOW;
  if (HAL_TIM_PWM_ConfigChannel(&htim1, &sConfigOC, TIM_CHANNEL_4) != HAL_OK)
  {
    Error_Handler();
  }
  sBreakDeadTimeConfig.OffStateRunMode = TIM_OSSR_DISABLE;
  sBreakDeadTimeConfig.OffStateIDLEMode = TIM_OSSI_DISABLE;
  sBreakDeadTimeConfig.LockLevel = TIM_LOCKLEVEL_OFF;
  sBreakDeadTimeConfig.DeadTime = 0;
  sBreakDeadTimeConfig.BreakState = TIM_BREAK_DISABLE;
  sBreakDeadTimeConfig.BreakPolarity = TIM_BREAKPOLARITY_HIGH;
  sBreakDeadTimeConfig.BreakFilter = 0;
  sBreakDeadTimeConfig.Break2State = TIM_BREAK2_DISABLE;
  sBreakDeadTimeConfig.Break2Polarity = TIM_BREAK2POLARITY_HIGH;
  sBreakDeadTimeConfig.Break2Filter = 0;
  sBreakDeadTimeConfig.AutomaticOutput = TIM_AUTOMATICOUTPUT_DISABLE;
  if (HAL_TIMEx_ConfigBreakDeadTime(&htim1, &sBreakDeadTimeConfig) != HAL_OK)
  {
    Error_Handler();
  }
  /* USER CODE BEGIN TIM1_Init 2 */
  HAL_TIM_PWM_Start(&htim1, TIM_CHANNEL_1);
  HAL_TIM_PWM_Start(&htim1, TIM_CHANNEL_2);
  HAL_TIM_PWM_Start(&htim1, TIM_CHANNEL_3);
  HAL_TIM_PWM_Start(&htim1, TIM_CHANNEL_4);
  /* USER CODE END TIM1_Init 2 */
  HAL_TIM_MspPostInit(&htim1);

}

void MX_TIM3_Init(void)
{

  TIM_ClockConfigTypeDef sClockSourceConfig = {0};
  TIM_MasterConfigTypeDef sMasterConfig = {0};
  TIM_OC_InitTypeDef sConfigOC = {0};

  htim3.Instance = TIM3;
  htim3.Init.Prescaler = 8000-1;
  htim3.Init.CounterMode = TIM_COUNTERMODE_UP;
  htim3.Init.Period = 100-1;
  htim3.Init.ClockDivision = TIM_CLOCKDIVISION_DIV1;
  htim3.Init.AutoReloadPreload = TIM_AUTORELOAD_PRELOAD_ENABLE;
  if (HAL_TIM_Base_Init(&htim3) != HAL_OK)
  {
    Error_Handler();
  }
  sClockSourceConfig.ClockSource = TIM_CLOCKSOURCE_INTERNAL;
  if (HAL_TIM_ConfigClockSource(&htim3, &sClockSourceConfig) != HAL_OK)
  {
    Error_Handler();
  }
  if (HAL_TIM_PWM_Init(&htim3) != HAL_OK)
  {
    Error_Handler();
  }
  sMasterConfig.MasterOutputTrigger = TIM_TRGO_RESET;
  sMasterConfig.MasterSlaveMode = TIM_MASTERSLAVEMODE_DISABLE;
  if (HAL_TIMEx_MasterConfigSynchronization(&htim3, &sMasterConfig) != HAL_OK)
  {
    Error_Handler();
  }
  sConfigOC.OCMode = TIM_OCMODE_PWM1;
  sConfigOC.Pulse = 0;
  sConfigOC.OCPolarity = TIM_OCPOLARITY_LOW;
  sConfigOC.OCFastMode = TIM_OCFAST_DISABLE;
  if (HAL_TIM_PWM_ConfigChannel(&htim3, &sConfigOC, TIM_CHANNEL_3) != HAL_OK)
  {
    Error_Handler();
  }
  if (HAL_TIM_PWM_ConfigChannel(&htim3, &sConfigOC, TIM_CHANNEL_4) != HAL_OK)
  {
    Error_Handler();
  }
  HAL_TIM_MspPostInit(&htim3);

}

void MX_TIM4_Init(void)
{

  TIM_ClockConfigTypeDef sClockSourceConfig = {0};
  TIM_MasterConfigTypeDef sMasterConfig = {0};
  TIM_OC_InitTypeDef sConfigOC = {0};

  htim4.Instance = TIM4;
  htim4.Init.Prescaler = 8000-1;
  htim4.Init.CounterMode = TIM_COUNTERMODE_UP;
  htim4.Init.Period = 100-1;
  htim4.Init.ClockDivision = TIM_CLOCKDIVISION_DIV1;
  htim4.Init.AutoReloadPreload = TIM_AUTORELOAD_PRELOAD_ENABLE;
  if (HAL_TIM_Base_Init(&htim4) != HAL_OK)
  {
    Error_Handler();
  }
  sClockSourceConfig.ClockSource = TIM_CLOCKSOURCE_INTERNAL;
  if (HAL_TIM_ConfigClockSource(&htim4, &sClockSourceConfig) != HAL_OK)
  {
    Error_Handler();
  }
  if (HAL_TIM_PWM_Init(&htim4) != HAL_OK)
  {
    Error_Handler();
  }
  sMasterConfig.MasterOutputTrigger = TIM_TRGO_RESET;
  sMasterConfig.MasterSlaveMode = TIM_MASTERSLAVEMODE_DISABLE;
  if (HAL_TIMEx_MasterConfigSynchronization(&htim4, &sMasterConfig) != HAL_OK)
  {
    Error_Handler();
  }
  sConfigOC.OCMode = TIM_OCMODE_PWM1;
  sConfigOC.Pulse = 0;
  sConfigOC.OCPolarity = TIM_OCPOLARITY_LOW;
  sConfigOC.OCFastMode = TIM_OCFAST_DISABLE;
  if (HAL_TIM_PWM_ConfigChannel(&htim4, &sConfigOC, TIM_CHANNEL_1) != HAL_OK)
  {
    Error_Handler();
  }
  if (HAL_TIM_PWM_ConfigChannel(&htim4, &sConfigOC, TIM_CHANNEL_2) != HAL_OK)
  {
    Error_Handler();
  }
  HAL_TIM_MspPostInit(&htim4);

}

void MX_TIM5_Init(void)
{

  TIM_ClockConfigTypeDef sClockSourceConfig = {0};
  TIM_MasterConfigTypeDef sMasterConfig = {0};

  htim5.Instance = TIM5;
  htim5.Init.Prescaler = 1;
  htim5.Init.CounterMode = TIM_COUNTERMODE_UP;
  htim5.Init.Period = 1;
  htim5.Init.ClockDivision = TIM_CLOCKDIVISION_DIV1;
  htim5.Init.AutoReloadPreload = TIM_AUTORELOAD_PRELOAD_ENABLE;
  if (HAL_TIM_Base_Init(&htim5) != HAL_OK)
  {
    Error_Handler();
  }
  sClockSourceConfig.ClockSource = TIM_CLOCKSOURCE_INTERNAL;
  if (HAL_TIM_ConfigClockSource(&htim5, &sClockSourceConfig) != HAL_OK)
  {
    Error_Handler();
  }
  sMasterConfig.MasterOutputTrigger = TIM_TRGO_RESET;
  sMasterConfig.MasterSlaveMode = TIM_MASTERSLAVEMODE_DISABLE;
  if (HAL_TIMEx_MasterConfigSynchronization(&htim5, &sMasterConfig) != HAL_OK)
  {
    Error_Handler();
  }

}

void MX_TIM7_Init(void)
{

  TIM_MasterConfigTypeDef sMasterConfig = {0};

  htim7.Instance = TIM7;
  htim7.Init.Prescaler = 1;
  htim7.Init.CounterMode = TIM_COUNTERMODE_UP;
  htim7.Init.Period = 65535;
  htim7.Init.AutoReloadPreload = TIM_AUTORELOAD_PRELOAD_ENABLE;
  if (HAL_TIM_Base_Init(&htim7) != HAL_OK)
  {
    Error_Handler();
  }
  sMasterConfig.MasterOutputTrigger = TIM_TRGO_RESET;
  sMasterConfig.MasterSlaveMode = TIM_MASTERSLAVEMODE_DISABLE;
  if (HAL_TIMEx_MasterConfigSynchronization(&htim7, &sMasterConfig) != HAL_OK)
  {
    Error_Handler();
  }

}

void MX_USART1_UART_Init(void)
{

  huart1.Instance = USART1;
  huart1.Init.BaudRate = 1843200;
  huart1.Init.WordLength = UART_WORDLENGTH_8B;
  huart1.Init.StopBits = UART_STOPBITS_1;
  huart1.Init.Parity = UART_PARITY_NONE;
  huart1.Init.Mode = UART_MODE_TX_RX;
  huart1.Init.HwFlowCtl = UART_HWCONTROL_NONE;
  huart1.Init.OverSampling = UART_OVERSAMPLING_16;
  huart1.Init.OneBitSampling = UART_ONE_BIT_SAMPLE_DISABLE;
  huart1.AdvancedInit.AdvFeatureInit = UART_ADVFEATURE_NO_INIT;
  if (HAL_UART_Init(&huart1) != HAL_OK)
  {
    Error_Handler();
  }

}

void MX_DMA_Init(void)
{

  /* DMA controller clock enable */
  __HAL_RCC_DMA2_CLK_ENABLE();
  __HAL_RCC_DMA1_CLK_ENABLE();

}

void MX_GPIO_Init(void)
{
  GPIO_InitTypeDef GPIO_InitStruct = {0};

  /* GPIO Ports Clock Enable */
  __HAL_RCC_GPIOE_CLK_ENABLE();
  __HAL_RCC_GPIOC_CLK_ENABLE();
  __HAL_RCC_GPIOH_CLK_ENABLE();
  __HAL_RCC_GPIOA_CLK_ENABLE();
  __HAL_RCC_GPIOB_CLK_ENABLE();
  __HAL_RCC_GPIOD_CLK_ENABLE();

  /*Configure GPIO pin Output Level */
  HAL_GPIO_WritePin(GPIOE, XSHUT3_Pin|XSHUT1_Pin|XSHUT2_Pin, GPIO_PIN_RESET);

  /*Configure GPIO pin Output Level */
  HAL_GPIO_WritePin(LED0_GPIO_Port, LED0_Pin, GPIO_PIN_SET);

  /*Configure GPIO pin Output Level */
  HAL_GPIO_WritePin(GPIOC, LED1_Pin|LED2_Pin, GPIO_PIN_RESET);

  /*Configure GPIO pin Output Level */
  HAL_GPIO_WritePin(MOTOR_EN_GPIO_Port, MOTOR_EN_Pin, GPIO_PIN_RESET);

  /*Configure GPIO pin Output Level */
  HAL_GPIO_WritePin(CTRL_LEDS_GPIO_Port, CTRL_LEDS_Pin, GPIO_PIN_RESET);

  /*Configure GPIO pins : PE2 PE4 PE5 PE7
                           PE8 PE12 PE0 PE1 */
  GPIO_InitStruct.Pin = GPIO_PIN_2|GPIO_PIN_4|GPIO_PIN_5|GPIO_PIN_7
                          |GPIO_PIN_8|GPIO_PIN_12|GPIO_PIN_0|GPIO_PIN_1;
  GPIO_InitStruct.Mode = GPIO_MODE_ANALOG;
  GPIO_InitStruct.Pull = GPIO_NOPULL;
  HAL_GPIO_Init(GPIOE, &GPIO_InitStruct);

  /*Configure GPIO pins : XSHUT3_Pin XSHUT1_Pin XSHUT2_Pin */
  GPIO_InitStruct.Pin = XSHUT3_Pin|XSHUT1_Pin|XSHUT2_Pin;
  GPIO_InitStruct.Mode = GPIO_MODE_OUTPUT_PP;
  GPIO_InitStruct.Pull = GPIO_PULLUP;
  GPIO_InitStruct.Speed = GPIO_SPEED_FREQ_VERY_HIGH;
  HAL_GPIO_Init(GPIOE, &GPIO_InitStruct);

  /*Configure GPIO pin : SW1_Pin */
  GPIO_InitStruct.Pin = SW1_Pin;
  GPIO_InitStruct.Mode = GPIO_MODE_INPUT;
  GPIO_InitStruct.Pull = GPIO_PULLUP;
  HAL_GPIO_Init(SW1_GPIO_Port, &GPIO_InitStruct);

  /*Configure GPIO pins : LED0_Pin LED1_Pin LED2_Pin */
  GPIO_InitStruct.Pin = LED0_Pin|LED1_Pin|LED2_Pin;
  GPIO_InitStruct.Mode = GPIO_MODE_OUTPUT_PP;
  GPIO_InitStruct.Pull = GPIO_NOPULL;
  GPIO_InitStruct.Speed = GPIO_SPEED_FREQ_LOW;
  HAL_GPIO_Init(GPIOC, &GPIO_InitStruct);

  /*Configure GPIO pins : PC0 PC1 PC2 PC3
                           PC6 PC7 PC10 PC11
                           PC12 */
  GPIO_InitStruct.Pin = GPIO_PIN_0|GPIO_PIN_1|GPIO_PIN_2|GPIO_PIN_3
                          |GPIO_PIN_6|GPIO_PIN_7|GPIO_PIN_10|GPIO_PIN_11
                          |GPIO_PIN_12;
  GPIO_InitStruct.Mode = GPIO_MODE_ANALOG;
  GPIO_InitStruct.Pull = GPIO_NOPULL;
  HAL_GPIO_Init(GPIOC, &GPIO_InitStruct);

  /*Configure GPIO pins : PA0 PA1 PA2 PA4
                           PA5 PA6 PA7 PA8
                           PA9 PA10 PA11 PA12
                           PA15 */
  GPIO_InitStruct.Pin = GPIO_PIN_0|GPIO_PIN_1|GPIO_PIN_2|GPIO_PIN_4
                          |GPIO_PIN_5|GPIO_PIN_6|GPIO_PIN_7|GPIO_PIN_8
                          |GPIO_PIN_9|GPIO_PIN_10|GPIO_PIN_11|GPIO_PIN_12
                          |GPIO_PIN_15;
  GPIO_InitStruct.Mode = GPIO_MODE_ANALOG;
  GPIO_InitStruct.Pull = GPIO_NOPULL;
  HAL_GPIO_Init(GPIOA, &GPIO_InitStruct);

  /*Configure GPIO pins : PB1 PB12 PB13 PB14
                           PB15 PB4 */
  GPIO_InitStruct.Pin = GPIO_PIN_1|GPIO_PIN_12|GPIO_PIN_13|GPIO_PIN_14
                          |GPIO_PIN_15|GPIO_PIN_4;
  GPIO_InitStruct.Mode = GPIO_MODE_ANALOG;
  GPIO_InitStruct.Pull = GPIO_NOPULL;
  HAL_GPIO_Init(GPIOB, &GPIO_InitStruct);

  /*Configure GPIO pin : SW2_Pin */
  GPIO_InitStruct.Pin = SW2_Pin;
  GPIO_InitStruct.Mode = GPIO_MODE_INPUT;
  GPIO_InitStruct.Pull = GPIO_PULLUP;
  HAL_GPIO_Init(SW2_GPIO_Port, &GPIO_InitStruct);

  /*Configure GPIO pins : PD8 PD9 PD10 PD11
                           PD14 PD15 PD0 PD1
                           PD2 PD3 PD4 PD5
                           PD6 */
  GPIO_InitStruct.Pin = GPIO_PIN_8|GPIO_PIN_9|GPIO_PIN_10|GPIO_PIN_11
                          |GPIO_PIN_14|GPIO_PIN_15|GPIO_PIN_0|GPIO_PIN_1
                          |GPIO_PIN_2|GPIO_PIN_3|GPIO_PIN_4|GPIO_PIN_5
                          |GPIO_PIN_6;
  GPIO_InitStruct.Mode = GPIO_MODE_ANALOG;
  GPIO_InitStruct.Pull = GPIO_NOPULL;
  HAL_GPIO_Init(GPIOD, &GPIO_InitStruct);

  /*Configure GPIO pin : MOTOR_EN_Pin */
  GPIO_InitStruct.Pin = MOTOR_EN_Pin;
  GPIO_InitStruct.Mode = GPIO_MODE_OUTPUT_PP;
  GPIO_InitStruct.Pull = GPIO_NOPULL;
  GPIO_InitStruct.Speed = GPIO_SPEED_FREQ_LOW;
  HAL_GPIO_Init(MOTOR_EN_GPIO_Port, &GPIO_InitStruct);

  /*Configure GPIO pin : CTRL_LEDS_Pin */
  GPIO_InitStruct.Pin = CTRL_LEDS_Pin;
  GPIO_InitStruct.Mode = GPIO_MODE_OUTPUT_PP;
  GPIO_InitStruct.Pull = GPIO_NOPULL;
  GPIO_InitStruct.Speed = GPIO_SPEED_FREQ_LOW;
  HAL_GPIO_Init(CTRL_LEDS_GPIO_Port, &GPIO_InitStruct);

  /*Configure GPIO pin : MPU6050_INT_Pin */
  GPIO_InitStruct.Pin = MPU6050_INT_Pin;
  GPIO_InitStruct.Mode = GPIO_MODE_INPUT;
  GPIO_InitStruct.Pull = GPIO_NOPULL;
  HAL_GPIO_Init(MPU6050_INT_GPIO_Port, &GPIO_InitStruct);

}

void HAL_TIM_PeriodElapsedCallback(TIM_HandleTypeDef *htim)
{
  if (htim->Instance == TIM6) {
    HAL_IncTick();
  }
}

void Error_Handler(void)
{
  /* USER CODE BEGIN Error_Handler_Debug */
  /* User can add his own implementation to report the HAL error return state */
  // __disable_irq();
  // initMicroMouse();
  // __enable_irq();
  while (1)
  {
    /* code */
  }

  /* USER CODE END Error_Handler_Debug */
}
